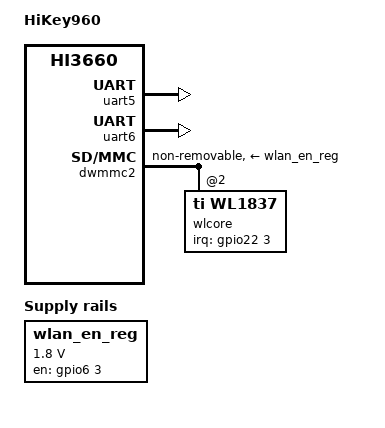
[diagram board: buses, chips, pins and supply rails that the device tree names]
/*
 * dts file for Hisilicon HiKey960 Development Board
 *
 * Copyright (C) 2016, Hisilicon Ltd.
 *
 */

/dts-v1/;

#include "hi3660.dtsi"
/*#include "hi3660-ion.dtsi"*/
#include "hikey960-pinctrl.dtsi"
#include "hi3660-gpu.dtsi"

/ {
	model = "HiKey960";
	compatible = "hisilicon,hi3660-hikey960", "hisilicon,hi3660";

	aliases {
		mshc1 = &dwmmc1;
		mshc2 = &dwmmc2;
		serial0 = &uart0;
		serial1 = &uart1;
		serial2 = &uart2;
		serial3 = &uart3;
		serial4 = &uart4;
		serial5 = &uart5;
		serial6 = &uart6;
	};

	chosen {};

	memory@0 {
		device_type = "memory";
		/* rewrite this at bootloader */
		reg = <0x0 0x0 0x0 0x0>;
	};

	soc {
		/* power control mechanism for WLAN_EN */
		wlan_en_reg: fixedregulator@1 {
			compatible = "regulator-fixed";
			regulator-name = "wlan-en-regulator";
			regulator-min-microvolt = <1800000>;
			regulator-max-microvolt = <1800000>;

			/* WLAN_EN GPIO for this board - GPIO_051_WIFI_EN */
			gpio = <&gpio6 3 0>;

			/* WLAN card specific delay */
			startup-delay-us = <70000>;
			enable-active-high;
		};
	};
};

&uart5 {
	status = "okay";
};

&uart6 {
	status = "okay";
};

&ufs {
	reset-gpio = <&gpio18 1 0>;
};

&dwmmc2 { /* WIFI */
	broken-cd;
	/* WL_EN */
	vmmc-supply = <&wlan_en_reg>;
	ti,non-removable;
	non-removable;
	#address-cells = <0x1>;
	#size-cells = <0x0>;
	status = "ok";

	wlcore: wlcore@2 {
		compatible = "ti,wl1837";
		reg = <2>;      /* sdio func num */
		/* WL_IRQ, GPIO_179_WL_WAKEUP_AP */
		interrupt-parent = <&gpio22>;
		interrupts = <3 1>; /* IRQ_TYPE_EDGE_RISING */
	};
};
